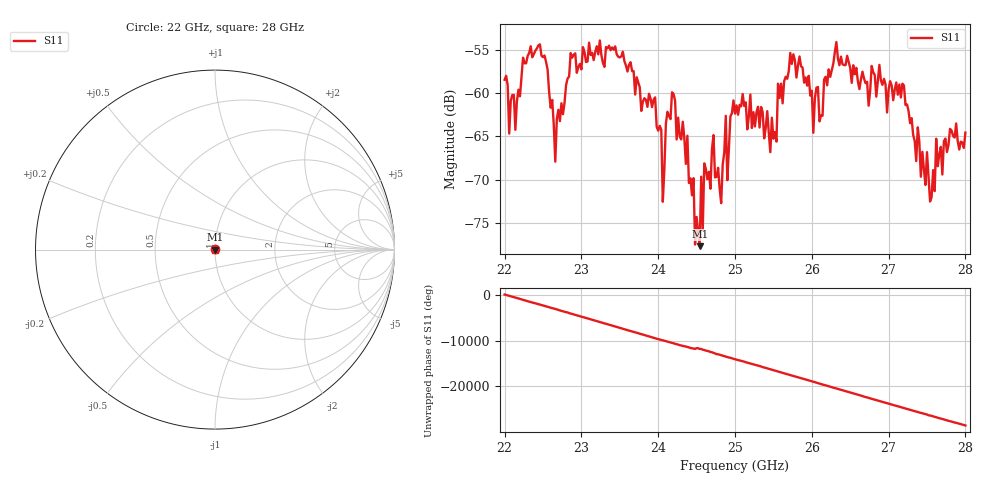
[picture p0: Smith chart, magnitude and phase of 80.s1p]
#  HZ  S  RI  R  50.00
! Rohde & Schwarz ZVA40 4Ports - Version 3.90 - 1145.1110k42 SN: 100403
! Date: 2023-10-04 07:46:34
! Measurement: S12
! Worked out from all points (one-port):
!   301 points, 22 GHz to 28 GHz, reference 50 ohm
!   lowest |S11| = -77.7 dB at 24.54 GHz (marker M1), VSWR 1.00, Z = 50 + j0.0104 ohm
!   |S11| at or under -10 dB: start of sweep to end of sweep
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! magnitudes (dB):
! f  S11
! 22 GHz  -58.5
! 22.14 GHz  -64.2
! 22.46 GHz  -54.4
! 22.66 GHz  -67.9
! 22.76 GHz  -62.4
! 22.86 GHz  -55.4
! 23.5 GHz  -55.9
! 23.96 GHz  -60.5
! 24.04 GHz  -64.2
! 24.06 GHz  -72.5
! 24.12 GHz  -62.2
! 24.26 GHz  -62.8
! 24.54 GHz  -77.7
! 24.6 GHz  -68.1
! 24.72 GHz  -64.9
! 24.82 GHz  -72.7
! 24.88 GHz  -62.6
! 24.9 GHz  -70.0
! 25 GHz  -62.4
! 25.46 GHz  -66.8
! 25.76 GHz  -55.5
! 26.02 GHz  -64.6
! 26.32 GHz  -54.1
! 26.5 GHz  -57.1
! 27.26 GHz  -62.1
! 27.54 GHz  -72.5
! 27.62 GHz  -65.3
! 28 GHz  -64.6
